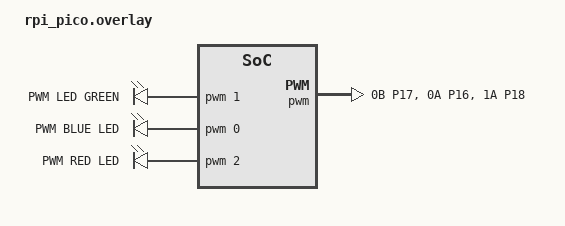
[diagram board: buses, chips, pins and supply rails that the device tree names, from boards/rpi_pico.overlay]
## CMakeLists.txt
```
cmake_minimum_required(VERSION 3.20.0)

find_package(Zephyr REQUIRED HINTS $ENV{ZEPHYR_BASE})

project(RGB-led)

target_sources(app PRIVATE src/main.c)
```

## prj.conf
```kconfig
CONFIG_GPIO=y
CONFIG_PWM=y
CONFIG_PINCTRL=y
```

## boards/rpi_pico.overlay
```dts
&pinctrl {
    pwm_pin0:pwm_pin0{
        group1 {
            pinmux = <PWM_0B_P17>;
        };
        group2 {
            pinmux = <PWM_0A_P16>;
        };
        group3 {
            pinmux = <PWM_1A_P18>;
        };
    };
};

&pwm {
    status="okay";
    pinctrl-0 = <&pwm_pin0>;
    pinctrl-names = "default";
    divider-int-3 = <125>;
};

/ {
    pwmled {
        compatible = "pwm-leds";
        gled:gled{
            pwms = <&pwm 1 PWM_HZ(1000) PWM_POLARITY_NORMAL>;
            label = "PWM LED GREEN";
        };

        bled: bled{
            pwms = <&pwm 0 PWM_HZ(1000) PWM_POLARITY_NORMAL>;
            label = "PWM BLUE LED";
        };

        rled:rled {
            pwms = <&pwm 2 PWM_HZ(1000) PWM_POLARITY_NORMAL>;
            label = "PWM RED LED";
        };
    };
};
```

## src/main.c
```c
#include <zephyr/kernel.h>
#include <zephyr/drivers/pwm.h>
#include <zephyr/sys/printk.h>

#define PWMGLED DT_NODELABEL(gled)
#define PWMBLED DT_NODELABEL(bled)
#define PWMRLED DT_NODELABEL(rled)

static const struct pwm_dt_spec gled = 
    PWM_DT_SPEC_GET(PWMGLED);

static const struct pwm_dt_spec bled = 
    PWM_DT_SPEC_GET(PWMBLED);

static const struct pwm_dt_spec rled =
    PWM_DT_SPEC_GET(PWMRLED);


int set_rgb(uint8_t r ,uint8_t g , uint8_t b){
    uint32_t r_pulse =
        ((uint64_t)rled.period * r) / 255;

    uint32_t g_pulse =
        ((uint64_t)gled.period * g) / 255;

    uint32_t b_pulse =
        ((uint64_t)bled.period * b) / 255;
    
    int ret;

    ret = pwm_set_pulse_dt(&rled,r_pulse);
    if (ret){
        return ret;
    }
    ret = pwm_set_pulse_dt(&bled,b_pulse);
    if (ret){
        return ret;
    }
    ret = pwm_set_pulse_dt(&gled,g_pulse);
    if (ret){
        return ret;
    }

    return 0;

}



int main(void)
{
    int ret;

    printk("RP2040: Smooth Full RGB Traversal\n");

    if (!pwm_is_ready_dt(&rled) ||
        !pwm_is_ready_dt(&gled) ||
        !pwm_is_ready_dt(&bled)) {

        printk("PWM device not ready!\n");
        return 0;
    }


    printk("Smooth RGB Colour Transition\n");

    while (1) {
        /* Red -> Yellow */
        for (int g = 0; g <= 255; g++) {
            set_rgb(255, g, 0);
            k_msleep(10);
        }

        /* Yellow -> Green */
        for (int r = 255; r >= 0; r--) {
            set_rgb(r, 255, 0);
            k_msleep(10);
        }

        /* Green -> Cyan */
        for (int b = 0; b <= 255; b++) {
            set_rgb(0, 255, b);
            k_msleep(10);
        }

        /* Cyan -> Blue */
        for (int g = 255; g >= 0; g--) {
            set_rgb(0, g, 255);
            k_msleep(10);
        }

        /* Blue -> Magenta */
        for (int r = 0; r <= 255; r++) {
            set_rgb(r, 0, 255);
            k_msleep(10);
        }

        /* Magenta -> Red */
        for (int b = 255; b >= 0; b--) {
            set_rgb(255, 0, b);
            k_msleep(10);
        }
    }

    return 0;
}
```
